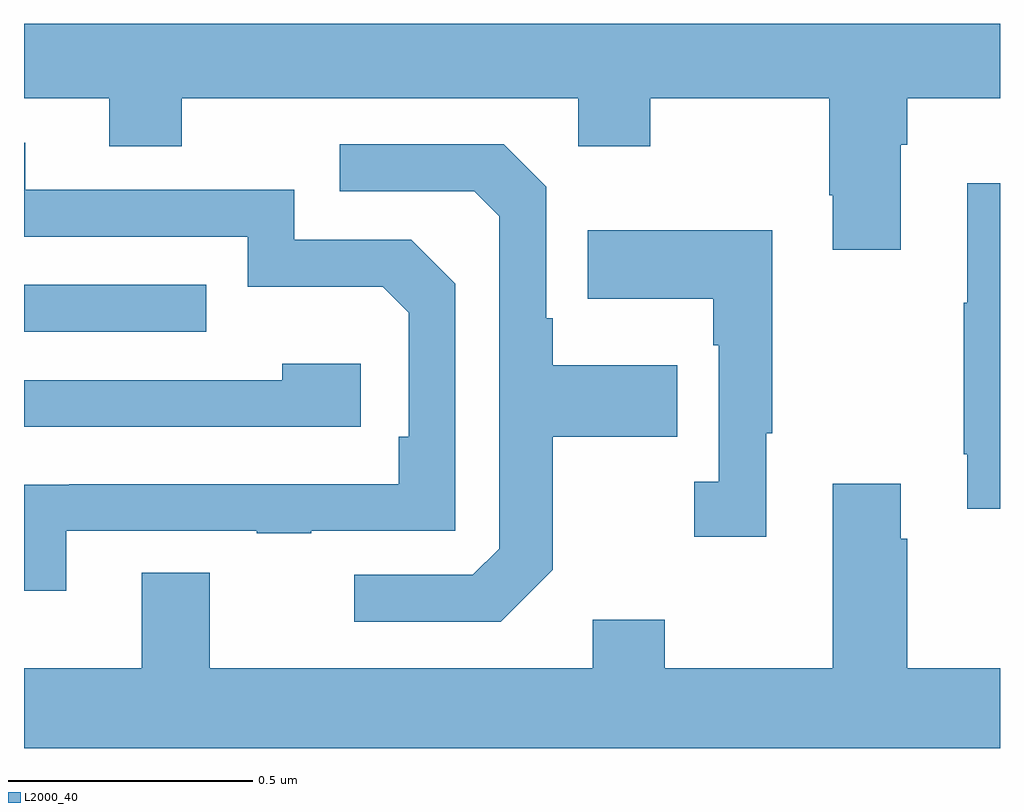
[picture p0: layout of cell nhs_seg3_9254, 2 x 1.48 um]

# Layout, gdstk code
import gdstk
lib = gdstk.Library(unit=1e-6, precision=1e-09)
def R(c, l, rs):  # rectangles x0, y0, x1, y1
    for r in rs: c.add(gdstk.rectangle(r[:2], r[2:], *l))
def P(c, l, *ps):  # polygons
    for p in ps: c.add(gdstk.Polygon(p, *l))
L2000_40 = (2000, 40)

nhs_seg3_9254 = lib.new_cell('nhs_seg3_9254')
R(nhs_seg3_9254, L2000_40, [(226,701.769,226.373,701.865)])
P(nhs_seg3_9254, L2000_40, [(226,702.248),(226.175,702.248),(226.175,702.149),(226.323,702.149),(226.323,702.248),(227.136,702.248),(227.136,702.149),(227.283,702.149),(227.283,702.248),(227.65,702.248),(227.65,702.049),(227.657,702.049),(227.657,701.937),(227.797,701.937),(227.797,702.152),(227.81,702.152),(227.81,702.248),(228,702.248),(228,702.4),(226,702.4)],
  [(226.087,701.361),(226.477,701.361),(226.477,701.356),(226.589,701.356),(226.589,701.361),(226.884,701.361),(226.884,701.868),(226.794,701.958),(226.554,701.958),(226.554,702.06),(226.003,702.06),(226.003,702.156),(226,702.156),(226,701.964),(226.458,701.964),(226.458,701.861),(226.735,701.861),(226.788,701.808),(226.788,701.554),(226.768,701.554),(226.768,701.457),(226.093,701.457),(226.093,701.456),(226,701.456),(226,701.238),(226.087,701.238)],
  [(227.083,701.281),(227.083,701.554),(227.339,701.554),(227.339,701.701),(227.083,701.701),(227.083,701.797),(227.07,701.797),(227.07,702.066),(226.983,702.153),(226.647,702.153),(226.647,702.057),(226.923,702.057),(226.974,702.006),(226.974,701.325),(226.92,701.271),(226.677,701.271),(226.677,701.175),(226.977,701.175)],
  [(228,702.073),(227.933,702.073),(227.933,701.829),(227.926,701.829),(227.926,701.518),(227.933,701.518),(227.933,701.406),(228,701.406)],
  [(227.521,701.561),(227.533,701.561),(227.533,701.977),(227.155,701.977),(227.155,701.837),(227.412,701.837),(227.412,701.741),(227.424,701.741),(227.424,701.462),(227.373,701.462),(227.373,701.349),(227.521,701.349)],
  [(226.69,701.704),(226.529,701.704),(226.529,701.67),(226,701.67),(226,701.574),(226.69,701.574)],
  [(228,701.08),(227.81,701.08),(227.81,701.345),(227.797,701.345),(227.797,701.458),(227.657,701.458),(227.657,701.08),(227.313,701.08),(227.313,701.179),(227.165,701.179),(227.165,701.08),(226.381,701.08),(226.381,701.275),(226.241,701.275),(226.241,701.08),(226,701.08),(226,700.916),(228,700.916)])

lib.write_gds('nhs_seg3_9254.gds')
